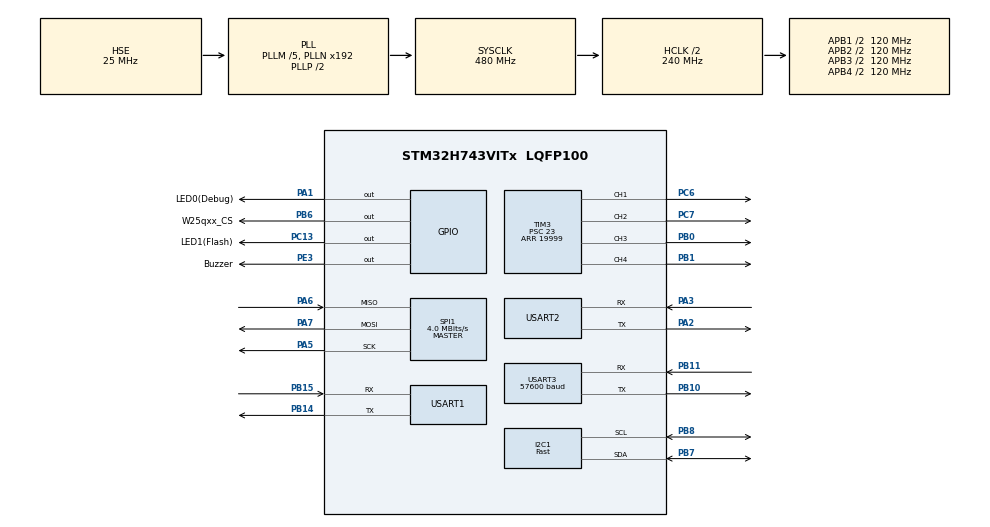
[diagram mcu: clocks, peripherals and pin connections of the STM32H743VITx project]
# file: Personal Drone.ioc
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Dma.I2C1_RX.0.Direction=DMA_PERIPH_TO_MEMORY
Dma.I2C1_RX.0.EventEnable=DISABLE
Dma.I2C1_RX.0.FIFOMode=DMA_FIFOMODE_DISABLE
Dma.I2C1_RX.0.Instance=DMA1_Stream1
Dma.I2C1_RX.0.MemDataAlignment=DMA_MDATAALIGN_BYTE
Dma.I2C1_RX.0.MemInc=DMA_MINC_ENABLE
Dma.I2C1_RX.0.Mode=DMA_NORMAL
Dma.I2C1_RX.0.PeriphDataAlignment=DMA_PDATAALIGN_BYTE
Dma.I2C1_RX.0.PeriphInc=DMA_PINC_DISABLE
Dma.I2C1_RX.0.Polarity=HAL_DMAMUX_REQ_GEN_RISING
Dma.I2C1_RX.0.Priority=DMA_PRIORITY_LOW
Dma.I2C1_RX.0.RequestNumber=1
Dma.I2C1_RX.0.SignalID=NONE
Dma.I2C1_RX.0.SyncEnable=DISABLE
Dma.I2C1_RX.0.SyncPolarity=HAL_DMAMUX_SYNC_NO_EVENT
Dma.I2C1_RX.0.SyncRequestNumber=1
Dma.I2C1_RX.0.SyncSignalID=NONE
Dma.Request0=I2C1_RX
Dma.Request1=USART1_RX
Dma.Request2=USART1_TX
Dma.Request3=USART2_RX
Dma.Request4=USART3_RX
Dma.USART1_RX.1.Direction=DMA_PERIPH_TO_MEMORY
Dma.USART1_RX.1.EventEnable=DISABLE
Dma.USART1_RX.1.FIFOMode=DMA_FIFOMODE_DISABLE
Dma.USART1_RX.1.Instance=DMA1_Stream0
Dma.USART1_RX.1.MemDataAlignment=DMA_MDATAALIGN_BYTE
Dma.USART1_RX.1.MemInc=DMA_MINC_ENABLE
Dma.USART1_RX.1.Mode=DMA_CIRCULAR
Dma.USART1_RX.1.PeriphDataAlignment=DMA_PDATAALIGN_BYTE
Dma.USART1_RX.1.PeriphInc=DMA_PINC_DISABLE
Dma.USART1_RX.1.Polarity=HAL_DMAMUX_REQ_GEN_RISING
Dma.USART1_RX.1.Priority=DMA_PRIORITY_LOW
Dma.USART1_RX.1.RequestNumber=1
Dma.USART1_RX.1.SignalID=NONE
Dma.USART1_RX.1.SyncEnable=DISABLE
Dma.USART1_RX.1.SyncPolarity=HAL_DMAMUX_SYNC_NO_EVENT
Dma.USART1_RX.1.SyncRequestNumber=1
Dma.USART1_RX.1.SyncSignalID=NONE
Dma.USART1_TX.2.Direction=DMA_MEMORY_TO_PERIPH
Dma.USART1_TX.2.EventEnable=DISABLE
Dma.USART1_TX.2.FIFOMode=DMA_FIFOMODE_DISABLE
Dma.USART1_TX.2.Instance=DMA1_Stream2
Dma.USART1_TX.2.MemDataAlignment=DMA_MDATAALIGN_BYTE
Dma.USART1_TX.2.MemInc=DMA_MINC_ENABLE
Dma.USART1_TX.2.Mode=DMA_NORMAL
Dma.USART1_TX.2.PeriphDataAlignment=DMA_PDATAALIGN_BYTE
Dma.USART1_TX.2.PeriphInc=DMA_PINC_DISABLE
Dma.USART1_TX.2.Polarity=HAL_DMAMUX_REQ_GEN_RISING
Dma.USART1_TX.2.Priority=DMA_PRIORITY_LOW
Dma.USART1_TX.2.RequestNumber=1
Dma.USART1_TX.2.SignalID=NONE
Dma.USART1_TX.2.SyncEnable=DISABLE
Dma.USART1_TX.2.SyncPolarity=HAL_DMAMUX_SYNC_NO_EVENT
Dma.USART1_TX.2.SyncRequestNumber=1
Dma.USART1_TX.2.SyncSignalID=NONE
Dma.USART2_RX.3.Direction=DMA_PERIPH_TO_MEMORY
Dma.USART2_RX.3.EventEnable=DISABLE
Dma.USART2_RX.3.FIFOMode=DMA_FIFOMODE_DISABLE
Dma.USART2_RX.3.Instance=DMA1_Stream3
Dma.USART2_RX.3.MemDataAlignment=DMA_MDATAALIGN_BYTE
Dma.USART2_RX.3.MemInc=DMA_MINC_DISABLE
Dma.USART2_RX.3.Mode=DMA_CIRCULAR
Dma.USART2_RX.3.PeriphDataAlignment=DMA_PDATAALIGN_BYTE
Dma.USART2_RX.3.PeriphInc=DMA_PINC_DISABLE
Dma.USART2_RX.3.Polarity=HAL_DMAMUX_REQ_GEN_RISING
Dma.USART2_RX.3.Priority=DMA_PRIORITY_VERY_HIGH
Dma.USART2_RX.3.RequestNumber=1
Dma.USART2_RX.3.SignalID=NONE
Dma.USART2_RX.3.SyncEnable=DISABLE
Dma.USART2_RX.3.SyncPolarity=HAL_DMAMUX_SYNC_NO_EVENT
Dma.USART2_RX.3.SyncRequestNumber=1
Dma.USART2_RX.3.SyncSignalID=NONE
Dma.USART3_RX.4.Direction=DMA_PERIPH_TO_MEMORY
Dma.USART3_RX.4.EventEnable=DISABLE
Dma.USART3_RX.4.FIFOMode=DMA_FIFOMODE_DISABLE
Dma.USART3_RX.4.Instance=DMA1_Stream4
Dma.USART3_RX.4.MemDataAlignment=DMA_MDATAALIGN_BYTE
Dma.USART3_RX.4.MemInc=DMA_MINC_ENABLE
Dma.USART3_RX.4.Mode=DMA_NORMAL
Dma.USART3_RX.4.PeriphDataAlignment=DMA_PDATAALIGN_BYTE
Dma.USART3_RX.4.PeriphInc=DMA_PINC_DISABLE
Dma.USART3_RX.4.Polarity=HAL_DMAMUX_REQ_GEN_RISING
Dma.USART3_RX.4.Priority=DMA_PRIORITY_LOW
Dma.USART3_RX.4.RequestNumber=1
Dma.USART3_RX.4.SignalID=NONE
Dma.USART3_RX.4.SyncEnable=DISABLE
Dma.USART3_RX.4.SyncPolarity=HAL_DMAMUX_SYNC_NO_EVENT
Dma.USART3_RX.4.SyncRequestNumber=1
Dma.USART3_RX.4.SyncSignalID=NONE
I2C1.I2C_Speed_Mode=I2C_Fast
I2C1.Timing=0x00B03FDB
Mcu.Family=STM32H7
Mcu.Name=STM32H743VITx
Mcu.Package=LQFP100
NVIC.DMA1_Stream0_IRQn=true\:0\:0\:false\:false\:true\:false\:true
NVIC.DMA1_Stream1_IRQn=true\:0\:0\:false\:false\:true\:false\:true
NVIC.DMA1_Stream2_IRQn=true\:0\:0\:false\:false\:true\:false\:true
NVIC.DMA1_Stream3_IRQn=true\:0\:0\:false\:false\:true\:false\:true
NVIC.DMA1_Stream4_IRQn=true\:0\:0\:false\:false\:true\:false\:true
NVIC.I2C1_EV_IRQn=true\:0\:0\:false\:false\:true\:true\:true
NVIC.PriorityGroup=NVIC_PRIORITYGROUP_4
NVIC.TIM3_IRQn=true\:0\:0\:false\:false\:true\:true\:true
NVIC.TIM7_IRQn=true\:0\:0\:false\:false\:true\:true\:true
NVIC.USART1_IRQn=true\:0\:0\:false\:false\:true\:true\:true
NVIC.USART2_IRQn=true\:0\:0\:false\:false\:true\:true\:true
NVIC.USART3_IRQn=true\:0\:0\:false\:false\:true\:true\:true
PA1.GPIO_Label=LED0(Debug)
PA1.Signal=GPIO_Output
PA2.Mode=Asynchronous
PA2.Signal=USART2_TX
PA3.Mode=Asynchronous
PA3.Signal=USART2_RX
PA5.Mode=Full_Duplex_Master
PA5.Signal=SPI1_SCK
PA6.Mode=Full_Duplex_Master
PA6.Signal=SPI1_MISO
PA7.Mode=Full_Duplex_Master
PA7.Signal=SPI1_MOSI
PB0.Signal=S_TIM3_CH3
PB1.Signal=S_TIM3_CH4
PB10.Mode=Asynchronous
PB10.Signal=USART3_TX
PB11.Mode=Asynchronous
PB11.Signal=USART3_RX
PB14.Mode=Asynchronous
PB14.Signal=USART1_TX
PB15.Mode=Asynchronous
PB15.Signal=USART1_RX
PB6.GPIO_Label=W25qxx_CS
PB6.Signal=GPIO_Output
PB7.Mode=I2C
PB7.Signal=I2C1_SDA
PB8.Mode=I2C
PB8.Signal=I2C1_SCL
PC13.GPIO_Label=LED1(Flash)
PC13.Signal=GPIO_Output
PC6.Signal=S_TIM3_CH1
PC7.Signal=S_TIM3_CH2
PE3.GPIO_Label=Buzzer
PE3.Signal=GPIO_Output
PH0-OSC_IN\ (PH0).Mode=HSE-External-Oscillator
PH0-OSC_IN\ (PH0).Signal=RCC_OSC_IN
PH1-OSC_OUT\ (PH1).Mode=HSE-External-Oscillator
PH1-OSC_OUT\ (PH1).Signal=RCC_OSC_OUT
ProjectManager.HeapSize=0x200
ProjectManager.StackSize=0x400
ProjectManager.TargetToolchain=STM32CubeIDE
RCC.ADCFreq_Value=50390625
RCC.APB1Freq_Value=120000000
RCC.APB2Freq_Value=120000000
RCC.APB3Freq_Value=120000000
RCC.APB4Freq_Value=120000000
RCC.CortexFreq_Value=480000000
RCC.D1PPRE=RCC_APB3_DIV2
RCC.D2PPRE1=RCC_APB1_DIV2
RCC.D2PPRE2=RCC_APB2_DIV2
RCC.D3PPRE=RCC_APB4_DIV2
RCC.DIVM1=5
RCC.DIVN1=192
RCC.HCLKFreq_Value=240000000
RCC.HPRE=RCC_HCLK_DIV2
RCC.PLLFRACN=0
RCC.PLLSourceVirtual=RCC_PLLSOURCE_HSE
RCC.SPI123CLockSelection=RCC_SPI123CLKSOURCE_CLKP
RCC.SYSCLKFreq_VALUE=480000000
RCC.SYSCLKSource=RCC_SYSCLKSOURCE_PLLCLK
RCC.USBFreq_Value=480000000
SH.S_TIM3_CH1.0=TIM3_CH1,PWM Generation1 CH1
SH.S_TIM3_CH2.0=TIM3_CH2,PWM Generation2 CH2
SH.S_TIM3_CH3.0=TIM3_CH3,PWM Generation3 CH3
SH.S_TIM3_CH4.0=TIM3_CH4,PWM Generation4 CH4
SPI1.BaudRatePrescaler=SPI_BAUDRATEPRESCALER_16
SPI1.CLKPhase=SPI_PHASE_1EDGE
SPI1.CalculateBaudRate=4.0 MBits/s
SPI1.DataSize=SPI_DATASIZE_8BIT
SPI1.Direction=SPI_DIRECTION_2LINES
SPI1.Mode=SPI_MODE_MASTER
SPI1.VirtualType=VM_MASTER
TIM3.Channel-PWM\ Generation1\ CH1=TIM_CHANNEL_1
TIM3.Channel-PWM\ Generation2\ CH2=TIM_CHANNEL_2
TIM3.Channel-PWM\ Generation3\ CH3=TIM_CHANNEL_3
TIM3.Channel-PWM\ Generation4\ CH4=TIM_CHANNEL_4
TIM3.Period=19999
TIM3.Prescaler=23
TIM7.AutoReloadPreload=TIM_AUTORELOAD_PRELOAD_ENABLE
TIM7.Period=5
TIM7.Prescaler=39999
USART1.VirtualMode-Asynchronous=VM_ASYNC
USART2.VirtualMode-Asynchronous=VM_ASYNC
USART3.BaudRate=57600
USART3.VirtualMode-Asynchronous=VM_ASYNC
VP_TIM3_VS_ClockSourceINT.Mode=Internal
VP_TIM7_VS_ClockSourceINT.Mode=Enable_Timer
board=custom

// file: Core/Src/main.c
/* USER CODE BEGIN Header */
/**
 ******************************************************************************
 * @file           : main.c
 * @brief          : Main program body
 ******************************************************************************
 * @attention
 *
 * Copyright (c) 2021 STMicroelectronics.
 * All rights reserved.
 *
 * This software is licensed under terms that can be found in the LICENSE file
 * in the root directory of this software component.
 * If no LICENSE file comes with this software, it is provided AS-IS.
 *
 ******************************************************************************
 */
/* USER CODE END Header */
#include "main.h"

/* USER CODE BEGIN Includes */
#include "MPU9250.h"
#include "w25qxx.h"
#include "MadgwickAHRS.h"
#include "FS-iA6B.h"
#include "PID control.h"
/* USER CODE END Includes */

I2C_HandleTypeDef hi2c1;
DMA_HandleTypeDef hdma_i2c1_rx;

SPI_HandleTypeDef hspi1;

TIM_HandleTypeDef htim3;
TIM_HandleTypeDef htim7;

UART_HandleTypeDef huart1;
UART_HandleTypeDef huart2;
UART_HandleTypeDef huart3;
DMA_HandleTypeDef hdma_usart1_rx;
DMA_HandleTypeDef hdma_usart1_tx;
DMA_HandleTypeDef hdma_usart2_rx;
DMA_HandleTypeDef hdma_usart3_rx;

/* USER CODE BEGIN PV */
//Timer
extern uint8_t tim1_2ms_flag;
extern uint8_t tim1_10ms_flag;
extern uint8_t tim1_20ms_flag;
extern uint8_t tim1_500ms_flag;

//MPU9250
extern int MPU9250_DRDY;
uint8_t Mag_Calib[12];
extern uint8_t MPU9250_ASAX;
extern uint8_t MPU9250_ASAY;
extern uint8_t MPU9250_ASAZ;
float test_float;
extern float System_Roll, System_Pitch, System_Yaw;

//FTDI
extern uint8_t uart1_rx_flag;
extern uint8_t uart1_rx_data;
uint8_t print_mode = 0;
uint8_t mag_calibration_enable = 0;

//Receiver
extern uint8_t uart2_rx_flag;
extern uint8_t uart2_rx_data;
extern uint8_t ibus_rx_buf[32];
extern uint8_t ibus_rx_cplt_flag;
extern uint8_t iBus_failsafe;
extern uint8_t motor_arming_flag;
unsigned char is_throttle_middle = 0;
unsigned char is_yaw_middle = 0;
float yaw_heading_reference = 0;
extern uint8_t iBus_rx_cnt;

//Motor
unsigned int ccr1 ,ccr2, ccr3, ccr4;
/* USER CODE END PV */

void SystemClock_Config(void);
void PeriphCommonClock_Config(void);
static void MX_GPIO_Init(void);
static void MX_DMA_Init(void);
static void MX_TIM7_Init(void);
static void MX_USART1_UART_Init(void);
static void MX_I2C1_Init(void);
static void MX_SPI1_Init(void);
static void MX_USART2_UART_Init(void);
static void MX_TIM3_Init(void);
static void MX_USART3_UART_Init(void);
/* USER CODE BEGIN PFP */
void Compass_Calibration(uint8_t mag_calibration_enable);
void ESC_Calibration(void);
void Stop_Motor(int ccr);
/* USER CODE END PFP */

/* USER CODE BEGIN 0 */
int _write(int file, char* p, int len)
{
	HAL_UART_Transmit_DMA(&huart1, p, len);
	return len;
}
/* USER CODE END 0 */

int main(void)
{
  /* USER CODE BEGIN 1 */
	MPU9250.Gx_Offset = 0.43;
	MPU9250.Gy_Offset = -0.49;
	MPU9250.Gz_Offset = -1.40;
	MPU9250.Mx_Offset = 0;
	MPU9250.My_Offset = 0;
	MPU9250.Mz_Offset = 0;

  /* USER CODE END 1 */

  /* MCU Configuration--------------------------------------------------------*/

  /* Reset of all peripherals, Initializes the Flash interface and the Systick. */
  HAL_Init();

  /* Configure the system clock */
  SystemClock_Config();

/* Configure the peripherals common clocks */
  PeriphCommonClock_Config();

  /* Initialize all configured peripherals */
  MX_GPIO_Init();
  MX_DMA_Init();
  MX_TIM7_Init();
  MX_USART1_UART_Init();
  MX_I2C1_Init();
  MX_SPI1_Init();
  MX_USART2_UART_Init();
  MX_TIM3_Init();
  MX_USART3_UART_Init();
  /* USER CODE BEGIN 2 */
  HAL_GPIO_WritePin(LED0_GPIO_Port, LED0_Pin, GPIO_PIN_RESET);
  HAL_Delay(500);
  HAL_GPIO_WritePin(LED0_GPIO_Port, LED0_Pin, GPIO_PIN_SET);

  //General Timer HAL
  HAL_TIM_Base_Start_IT(&htim7);
  //General PWM LL
//  LL_TIM_EnableCounter(TIM7);
//  LL_TIM_EnableIT_UPDATE(TIM7);

  //USART Channels HAL
  HAL_UART_Receive_DMA(&huart1, &uart1_rx_data, 1); //FTDI
  HAL_UART_Receive_DMA(&huart2, &uart2_rx_data, 1); //Receiver

	//Motor PWM HAL
	HAL_TIM_Base_Start_IT(&htim3);
	HAL_TIM_PWM_Start_IT(&htim3, TIM_CHANNEL_1);
	HAL_TIM_PWM_Start_IT(&htim3, TIM_CHANNEL_2);
	HAL_TIM_PWM_Start_IT(&htim3, TIM_CHANNEL_3);
	HAL_TIM_PWM_Start_IT(&htim3, TIM_CHANNEL_4);
  //Motor PWM LL
//  LL_TIM_EnableCounter(TIM3);
//  LL_TIM_CC_EnableChannel(TIM3, LL_TIM_CHANNEL_CH1);
//  LL_TIM_CC_EnableChannel(TIM3, LL_TIM_CHANNEL_CH2);
//  LL_TIM_CC_EnableChannel(TIM3, LL_TIM_CHANNEL_CH3);
//  LL_TIM_CC_EnableChannel(TIM3, LL_TIM_CHANNEL_CH4);

  /* USER CODE END 2 */

  /* Infinite loop */
  /* USER CODE BEGIN WHILE */

	//Initialize MPU9250
	while(MPU9250_Init(&hi2c1, 3, 3, 3, 3) == 0)
	{
		if(tim1_20ms_flag == 1)
		{
			tim1_20ms_flag = 0;
			printf("MPU9250 Initialing \n");
		}
	}
	MPU9250_Bypass(&hi2c1);
	while(MPU9250_AK8963_Setup(&hi2c1, &MPU9250) == 0)
	{
		if(tim1_20ms_flag == 1)
		{
			tim1_20ms_flag = 0;
			printf("AK8963 Initialing \n");
		}
	}
	MPU9250_Master(&hi2c1);
	MPU9250_Slave0_Enable(&hi2c1);

	//Initialize MS5611

	//EEPROM
	W25qxx_Init();
	W25qxx_ReadSector(Mag_Calib, 0, 0, 12);
	MPU9250.Mx_Offset = *(float*)&Mag_Calib[0];
	MPU9250.My_Offset = *(float*)&Mag_Calib[4];
	MPU9250.Mz_Offset = *(float*)&Mag_Calib[8];

	//Receiver Check
	printf("Receiver Status Check \n"); HAL_Delay(10);
	while(Is_iBus_Received(ibus_rx_cplt_flag) == 0)
	{
		HAL_GPIO_WritePin(LED0_GPIO_Port, LED0_Pin, GPIO_PIN_RESET);
		HAL_Delay(500);
		HAL_GPIO_WritePin(LED0_GPIO_Port, LED0_Pin, GPIO_PIN_SET);
		HAL_Delay(500);
	}
	while(Is_Throttle_Min() == 0)
	{
		HAL_GPIO_WritePin(LED0_GPIO_Port, LED0_Pin, GPIO_PIN_RESET);
		HAL_Delay(500);
		HAL_GPIO_WritePin(LED0_GPIO_Port, LED0_Pin, GPIO_PIN_SET);
		HAL_Delay(500);
	}
	printf("Receiver OK \n"); HAL_Delay(10);

	//ESC Calibration
	if(iBus.SwB == 2000 && iBus.SwC == 2000)
	{
		ESC_Calibration();
		while(iBus.SwB != 1000) Is_iBus_Received(ibus_rx_cplt_flag);
	}

	while (1)
	{
		//UART Message Check
		Receive_Command();

		//Receiver Channel Check
		Is_iBus_Received(ibus_rx_cplt_flag);
		if(iBus.SwA == 2000 && iBus.SwA_Prev != 2000)
		{
			if(iBus.LV < 1010)
			{
				motor_arming_flag = 1;
				yaw_heading_reference = System_Yaw;
			}
		}
		iBus.SwA_Prev = iBus.SwA;
		if(iBus.SwA != 2000)
		{
			motor_arming_flag = 0;
		}
		if(motor_arming_flag == 1)
		{
			if(iBus_failsafe == 0)
			{
				if(iBus.LV > 1010)
				{
					TIM3->CCR1 = ccr1 > 20000 ? 19900 : ccr1 < 10000 ? 10000 : ccr1;
					TIM3->CCR2 = ccr2 > 20000 ? 19900 : ccr2 < 10000 ? 10000 : ccr2;
					TIM3->CCR3 = ccr3 > 20000 ? 19900 : ccr3 < 10000 ? 10000 : ccr3;
					TIM3->CCR4 = ccr4 > 20000 ? 19900 : ccr4 < 10000 ? 10000 : ccr4;
				}
				else Stop_Motor(10000);
			}
			else Stop_Motor(10000);
		}
		else
		{
			Stop_Motor(10000);
			Compass_Calibration(mag_calibration_enable | (iBus.SwB == 2000 && iBus.SwC == 1000));
		}

		if(iBus.SwD == 2000 && iBus.SwD_Prev != 2000)
		{
			HAL_GPIO_WritePin(Buzzer_GPIO_Port, Buzzer_Pin, GPIO_PIN_SET); //Toggle LED, Buzzer On
			HAL_GPIO_TogglePin(LED1_GPIO_Port, LED1_Pin);
		}
		if(iBus.SwD == 1000 && iBus.SwD_Prev != 1000) HAL_GPIO_WritePin(Buzzer_GPIO_Port, Buzzer_Pin, GPIO_PIN_RESET);//Buzzer Off

		iBus.SwD_Prev = iBus.SwD;

		//Read MPU9250 + Motor PID
		if(tim1_2ms_flag == 1)
		{
			tim1_2ms_flag = 0;
			MPU9250_Read_All(&hi2c1);
			MPU9250_Parsing(&MPU9250);
			MadgwickAHRSupdate(MPU9250.Gx_Rad, MPU9250.Gy_Rad, MPU9250.Gz_Rad, MPU9250.Ax, MPU9250.Ay, MPU9250.Az, MPU9250.Mx, MPU9250.My, MPU9250.Mz);
			Double_PID_Calculation_Rate(&roll, (iBus.LH - 1500) * 0.7, System_Roll, MPU9250.Gx, 1000, 500, 0, 1, 0);
			Double_PID_Calculation_Rate(&pitch, -(iBus.LV - 1500) * 0.7, System_Pitch, MPU9250.Gy, 1000, 500, 0, 1, 0);

			if(iBus.LH > 1480 && iBus.LH < 1520) is_yaw_middle = 1;
			else is_yaw_middle = 0;

			if(is_yaw_middle == 0)
			{
				yaw_heading_reference = System_Yaw;
				Single_PID_Calculation(&yaw_rate, (iBus.LH-1500), MPU9250.Gz, 200,1 ,1);
				ccr1 = 10000 + (iBus.LV-1000)*10 + roll.in.pid_result + pitch.in.pid_result - yaw_rate.out.pid_result;
				ccr2 = 10000 + (iBus.LV-1000)*10 + roll.in.pid_result - pitch.in.pid_result + yaw_rate.out.pid_result;
				ccr3 = 10000 + (iBus.LV-1000)*10 - roll.in.pid_result - pitch.in.pid_result + yaw_rate.out.pid_result;
				ccr4 = 10000 + (iBus.LV-1000)*10 - roll.in.pid_result + pitch.in.pid_result - yaw_rate.out.pid_result;
			}
			else
			{
				Double_PID_Calculation_Rate(&yaw_heading, yaw_heading_reference, System_Yaw, MPU9250.Gz, 400, 150, 0, 1, 1);
				ccr1 = 10000 + (iBus.LV-1000)*10 + roll.in.pid_result + pitch.in.pid_result - yaw_heading.in.pid_result;
				ccr2 = 10000 + (iBus.LV-1000)*10 + roll.in.pid_result - pitch.in.pid_result + yaw_heading.in.pid_result;
				ccr3 = 10000 + (iBus.LV-1000)*10 - roll.in.pid_result - pitch.in.pid_result + yaw_heading.in.pid_result;
				ccr4 = 10000 + (iBus.LV-1000)*10 - roll.in.pid_result + pitch.in.pid_result - yaw_heading.in.pid_result;
			}
		}

		//Print According to the Input
		if(tim1_20ms_flag == 1)
		{
			tim1_20ms_flag = 0;

			switch(print_mode)
			{
			case 1: printf("%.2f \t %.2f \t %.2f \t \n", System_Roll, System_Pitch, System_Yaw); break; //Roll, Pitch, Yaw
			case 2: /* printf("%.2f \t %.2f \t \m", Alt, Alt_Filt); */ break; //Alt Raw, Alt Filt
			case 3: printf("%.2f \t %.2f \t %.2f \t \n", MPU9250.Gx, MPU9250.Gy, MPU9250.Gz); break; //Gyro
			case 4: printf("%.2f \t %.2f \t %.2f \t \n", MPU9250.Ax, MPU9250.Ay, MPU9250.Az); break; //Accel
			case 5: printf("%.2f \t %.2f \t %.2f \t \n", MPU9250.Mx, MPU9250.My, MPU9250.Mz); break; //Mag
			case 6: printf("%f \t %f \t %f \t \n", MPU9250.Mx_Offset, MPU9250.My_Offset, MPU9250.Mz_Offset); break; //Mag_Offset
			case 11: printf("%d %d %d %d %d %d %d %d %d %d \n", iBus.RH, iBus.RV, iBus.LV, iBus.LH, iBus.SwA, iBus.SwB, iBus.VrA, iBus.VrB, iBus.SwC, iBus.SwD); break; //Mag_Offset
			default: break;
			}
		}

		//iBus Connection Failsafe
		if(tim1_500ms_flag == 1)
		{
			tim1_500ms_flag = 0;
			if(iBus_rx_cnt == 0)
			{
				iBus_failsafe = 2;
			}
			iBus_rx_cnt = 0;
		}

    /* USER CODE END WHILE */

	}
}

void SystemClock_Config(void)
{
  RCC_OscInitTypeDef RCC_OscInitStruct = {0};
  RCC_ClkInitTypeDef RCC_ClkInitStruct = {0};

  /** Supply configuration update enable
  */
  HAL_PWREx_ConfigSupply(PWR_LDO_SUPPLY);
  /** Configure the main internal regulator output voltage
  */
  __HAL_PWR_VOLTAGESCALING_CONFIG(PWR_REGULATOR_VOLTAGE_SCALE0);

  while(!__HAL_PWR_GET_FLAG(PWR_FLAG_VOSRDY)) {}
  /** Initializes the RCC Oscillators according to the specified parameters
  * in the RCC_OscInitTypeDef structure.
  */
  RCC_OscInitStruct.OscillatorType = RCC_OSCILLATORTYPE_HSI|RCC_OSCILLATORTYPE_HSE;
  RCC_OscInitStruct.HSEState = RCC_HSE_ON;
  RCC_OscInitStruct.HSIState = RCC_HSI_DIV1;
  RCC_OscInitStruct.HSICalibrationValue = RCC_HSICALIBRATION_DEFAULT;
  RCC_OscInitStruct.PLL.PLLState = RCC_PLL_ON;
  RCC_OscInitStruct.PLL.PLLSource = RCC_PLLSOURCE_HSE;
  RCC_OscInitStruct.PLL.PLLM = 5;
  RCC_OscInitStruct.PLL.PLLN = 192;
  RCC_OscInitStruct.PLL.PLLP = 2;
  RCC_OscInitStruct.PLL.PLLQ = 2;
  RCC_OscInitStruct.PLL.PLLR = 2;
  RCC_OscInitStruct.PLL.PLLRGE = RCC_PLL1VCIRANGE_2;
  RCC_OscInitStruct.PLL.PLLVCOSEL = RCC_PLL1VCOWIDE;
  RCC_OscInitStruct.PLL.PLLFRACN = 0;
  if (HAL_RCC_OscConfig(&RCC_OscInitStruct) != HAL_OK)
  {
    Error_Handler();
  }
  /** Initializes the CPU, AHB and APB buses clocks
  */
  RCC_ClkInitStruct.ClockType = RCC_CLOCKTYPE_HCLK|RCC_CLOCKTYPE_SYSCLK
                              |RCC_CLOCKTYPE_PCLK1|RCC_CLOCKTYPE_PCLK2
                              |RCC_CLOCKTYPE_D3PCLK1|RCC_CLOCKTYPE_D1PCLK1;
  RCC_ClkInitStruct.SYSCLKSource = RCC_SYSCLKSOURCE_PLLCLK;
  RCC_ClkInitStruct.SYSCLKDivider = RCC_SYSCLK_DIV1;
  RCC_ClkInitStruct.AHBCLKDivider = RCC_HCLK_DIV2;
  RCC_ClkInitStruct.APB3CLKDivider = RCC_APB3_DIV2;
  RCC_ClkInitStruct.APB1CLKDivider = RCC_APB1_DIV2;
  RCC_ClkInitStruct.APB2CLKDivider = RCC_APB2_DIV2;
  RCC_ClkInitStruct.APB4CLKDivider = RCC_APB4_DIV2;

  if (HAL_RCC_ClockConfig(&RCC_ClkInitStruct, FLASH_LATENCY_4) != HAL_OK)
  {
    Error_Handler();
  }
}

void PeriphCommonClock_Config(void)
{
  RCC_PeriphCLKInitTypeDef PeriphClkInitStruct = {0};

  /** Initializes the peripherals clock
  */
  PeriphClkInitStruct.PeriphClockSelection = RCC_PERIPHCLK_CKPER;
  PeriphClkInitStruct.CkperClockSelection = RCC_CLKPSOURCE_HSI;
  if (HAL_RCCEx_PeriphCLKConfig(&PeriphClkInitStruct) != HAL_OK)
  {
    Error_Handler();
  }
}

static void MX_I2C1_Init(void)
{

  hi2c1.Instance = I2C1;
  hi2c1.Init.Timing = 0x00B03FDB;
  hi2c1.Init.OwnAddress1 = 0;
  hi2c1.Init.AddressingMode = I2C_ADDRESSINGMODE_7BIT;
  hi2c1.Init.DualAddressMode = I2C_DUALADDRESS_DISABLE;
  hi2c1.Init.OwnAddress2 = 0;
  hi2c1.Init.OwnAddress2Masks = I2C_OA2_NOMASK;
  hi2c1.Init.GeneralCallMode = I2C_GENERALCALL_DISABLE;
  hi2c1.Init.NoStretchMode = I2C_NOSTRETCH_DISABLE;
  if (HAL_I2C_Init(&hi2c1) != HAL_OK)
  {
    Error_Handler();
  }
  /** Configure Analogue filter
  */
  if (HAL_I2CEx_ConfigAnalogFilter(&hi2c1, I2C_ANALOGFILTER_ENABLE) != HAL_OK)
  {
    Error_Handler();
  }
  /** Configure Digital filter
  */
  if (HAL_I2CEx_ConfigDigitalFilter(&hi2c1, 0) != HAL_OK)
  {
    Error_Handler();
  }

}

static void MX_SPI1_Init(void)
{

  /* SPI1 parameter configuration*/
  hspi1.Instance = SPI1;
  hspi1.Init.Mode = SPI_MODE_MASTER;
  hspi1.Init.Direction = SPI_DIRECTION_2LINES;
  hspi1.Init.DataSize = SPI_DATASIZE_8BIT;
  hspi1.Init.CLKPolarity = SPI_POLARITY_LOW;
  hspi1.Init.CLKPhase = SPI_PHASE_1EDGE;
  hspi1.Init.NSS = SPI_NSS_SOFT;
  hspi1.Init.BaudRatePrescaler = SPI_BAUDRATEPRESCALER_16;
  hspi1.Init.FirstBit = SPI_FIRSTBIT_MSB;
  hspi1.Init.TIMode = SPI_TIMODE_DISABLE;
  hspi1.Init.CRCCalculation = SPI_CRCCALCULATION_DISABLE;
  hspi1.Init.CRCPolynomial = 0x0;
  hspi1.Init.NSSPMode = SPI_NSS_PULSE_ENABLE;
  hspi1.Init.NSSPolarity = SPI_NSS_POLARITY_LOW;
  hspi1.Init.FifoThreshold = SPI_FIFO_THRESHOLD_01DATA;
  hspi1.Init.TxCRCInitializationPattern = SPI_CRC_INITIALIZATION_ALL_ZERO_PATTERN;
  hspi1.Init.RxCRCInitializationPattern = SPI_CRC_INITIALIZATION_ALL_ZERO_PATTERN;
  hspi1.Init.MasterSSIdleness = SPI_MASTER_SS_IDLENESS_00CYCLE;
  hspi1.Init.MasterInterDataIdleness = SPI_MASTER_INTERDATA_IDLENESS_00CYCLE;
  hspi1.Init.MasterReceiverAutoSusp = SPI_MASTER_RX_AUTOSUSP_DISABLE;
  hspi1.Init.MasterKeepIOState = SPI_MASTER_KEEP_IO_STATE_DISABLE;
  hspi1.Init.IOSwap = SPI_IO_SWAP_DISABLE;
  if (HAL_SPI_Init(&hspi1) != HAL_OK)
  {
    Error_Handler();
  }

}

static void MX_TIM3_Init(void)
{

  TIM_ClockConfigTypeDef sClockSourceConfig = {0};
  TIM_MasterConfigTypeDef sMasterConfig = {0};
  TIM_OC_InitTypeDef sConfigOC = {0};

  htim3.Instance = TIM3;
  htim3.Init.Prescaler = 23;
  htim3.Init.CounterMode = TIM_COUNTERMODE_UP;
  htim3.Init.Period = 19999;
  htim3.Init.ClockDivision = TIM_CLOCKDIVISION_DIV1;
  htim3.Init.AutoReloadPreload = TIM_AUTORELOAD_PRELOAD_DISABLE;
  if (HAL_TIM_Base_Init(&htim3) != HAL_OK)
  {
    Error_Handler();
  }
  sClockSourceConfig.ClockSource = TIM_CLOCKSOURCE_INTERNAL;
  if (HAL_TIM_ConfigClockSource(&htim3, &sClockSourceConfig) != HAL_OK)
  {
    Error_Handler();
  }
  if (HAL_TIM_PWM_Init(&htim3) != HAL_OK)
  {
    Error_Handler();
  }
  sMasterConfig.MasterOutputTrigger = TIM_TRGO_RESET;
  sMasterConfig.MasterSlaveMode = TIM_MASTERSLAVEMODE_DISABLE;
  if (HAL_TIMEx_MasterConfigSynchronization(&htim3, &sMasterConfig) != HAL_OK)
  {
    Error_Handler();
  }
  sConfigOC.OCMode = TIM_OCMODE_PWM1;
  sConfigOC.Pulse = 0;
  sConfigOC.OCPolarity = TIM_OCPOLARITY_HIGH;
  sConfigOC.OCFastMode = TIM_OCFAST_DISABLE;
  if (HAL_TIM_PWM_ConfigChannel(&htim3, &sConfigOC, TIM_CHANNEL_1) != HAL_OK)
  {
    Error_Handler();
  }
  if (HAL_TIM_PWM_ConfigChannel(&htim3, &sConfigOC, TIM_CHANNEL_2) != HAL_OK)
  {
    Error_Handler();
  }
  if (HAL_TIM_PWM_ConfigChannel(&htim3, &sConfigOC, TIM_CHANNEL_3) != HAL_OK)
  {
    Error_Handler();
  }
  if (HAL_TIM_PWM_ConfigChannel(&htim3, &sConfigOC, TIM_CHANNEL_4) != HAL_OK)
  {
    Error_Handler();
  }
  HAL_TIM_MspPostInit(&htim3);

}

static void MX_TIM7_Init(void)
{

  TIM_MasterConfigTypeDef sMasterConfig = {0};

  htim7.Instance = TIM7;
  htim7.Init.Prescaler = 39999;
  htim7.Init.CounterMode = TIM_COUNTERMODE_UP;
  htim7.Init.Period = 5;
  htim7.Init.AutoReloadPreload = TIM_AUTORELOAD_PRELOAD_ENABLE;
  if (HAL_TIM_Base_Init(&htim7) != HAL_OK)
  {
    Error_Handler();
  }
  sMasterConfig.MasterOutputTrigger = TIM_TRGO_RESET;
  sMasterConfig.MasterSlaveMode = TIM_MASTERSLAVEMODE_DISABLE;
  if (HAL_TIMEx_MasterConfigSynchronization(&htim7, &sMasterConfig) != HAL_OK)
  {
    Error_Handler();
  }

}

static void MX_USART1_UART_Init(void)
{

  huart1.Instance = USART1;
  huart1.Init.BaudRate = 115200;
  huart1.Init.WordLength = UART_WORDLENGTH_8B;
  huart1.Init.StopBits = UART_STOPBITS_1;
  huart1.Init.Parity = UART_PARITY_NONE;
  huart1.Init.Mode = UART_MODE_TX_RX;
  huart1.Init.HwFlowCtl = UART_HWCONTROL_NONE;
  huart1.Init.OverSampling = UART_OVERSAMPLING_16;
  huart1.Init.OneBitSampling = UART_ONE_BIT_SAMPLE_DISABLE;
  huart1.Init.ClockPrescaler = UART_PRESCALER_DIV1;
  huart1.AdvancedInit.AdvFeatureInit = UART_ADVFEATURE_NO_INIT;
  if (HAL_UART_Init(&huart1) != HAL_OK)
  {
    Error_Handler();
  }
  if (HAL_UARTEx_SetTxFifoThreshold(&huart1, UART_TXFIFO_THRESHOLD_1_8) != HAL_OK)
  {
    Error_Handler();
  }
  if (HAL_UARTEx_SetRxFifoThreshold(&huart1, UART_RXFIFO_THRESHOLD_1_8) != HAL_OK)
  {
    Error_Handler();
  }
  if (HAL_UARTEx_DisableFifoMode(&huart1) != HAL_OK)
  {
    Error_Handler();
  }

}

static void MX_USART2_UART_Init(void)
{

  huart2.Instance = USART2;
  huart2.Init.BaudRate = 115200;
  huart2.Init.WordLength = UART_WORDLENGTH_8B;
  huart2.Init.StopBits = UART_STOPBITS_1;
  huart2.Init.Parity = UART_PARITY_NONE;
  huart2.Init.Mode = UART_MODE_TX_RX;
  huart2.Init.HwFlowCtl = UART_HWCONTROL_NONE;
  huart2.Init.OverSampling = UART_OVERSAMPLING_16;
  huart2.Init.OneBitSampling = UART_ONE_BIT_SAMPLE_DISABLE;
  huart2.Init.ClockPrescaler = UART_PRESCALER_DIV1;
  huart2.AdvancedInit.AdvFeatureInit = UART_ADVFEATURE_NO_INIT;
  if (HAL_UART_Init(&huart2) != HAL_OK)
  {
    Error_Handler();
  }
  if (HAL_UARTEx_SetTxFifoThreshold(&huart2, UART_TXFIFO_THRESHOLD_1_8) != HAL_OK)
  {
    Error_Handler();
  }
  if (HAL_UARTEx_SetRxFifoThreshold(&huart2, UART_RXFIFO_THRESHOLD_1_8) != HAL_OK)
  {
    Error_Handler();
  }
  if (HAL_UARTEx_DisableFifoMode(&huart2) != HAL_OK)
  {
    Error_Handler();
  }

}

static void MX_USART3_UART_Init(void)
{

  huart3.Instance = USART3;
  huart3.Init.BaudRate = 57600;
  huart3.Init.WordLength = UART_WORDLENGTH_8B;
  huart3.Init.StopBits = UART_STOPBITS_1;
  huart3.Init.Parity = UART_PARITY_NONE;
  huart3.Init.Mode = UART_MODE_TX_RX;
  huart3.Init.HwFlowCtl = UART_HWCONTROL_NONE;
  huart3.Init.OverSampling = UART_OVERSAMPLING_16;
  huart3.Init.OneBitSampling = UART_ONE_BIT_SAMPLE_DISABLE;
  huart3.Init.ClockPrescaler = UART_PRESCALER_DIV1;
  huart3.AdvancedInit.AdvFeatureInit = UART_ADVFEATURE_NO_INIT;
  if (HAL_UART_Init(&huart3) != HAL_OK)
  {
    Error_Handler();
  }
  if (HAL_UARTEx_SetTxFifoThreshold(&huart3, UART_TXFIFO_THRESHOLD_1_8) != HAL_OK)
  {
    Error_Handler();
  }
  if (HAL_UARTEx_SetRxFifoThreshold(&huart3, UART_RXFIFO_THRESHOLD_1_8) != HAL_OK)
  {
    Error_Handler();
  }
  if (HAL_UARTEx_DisableFifoMode(&huart3) != HAL_OK)
  {
    Error_Handler();
  }

}

static void MX_DMA_Init(void)
{

  /* DMA controller clock enable */
  __HAL_RCC_DMA1_CLK_ENABLE();

  /* DMA interrupt init */
  /* DMA1_Stream0_IRQn interrupt configuration */
  HAL_NVIC_SetPriority(DMA1_Stream0_IRQn, 0, 0);
  HAL_NVIC_EnableIRQ(DMA1_Stream0_IRQn);
  /* DMA1_Stream1_IRQn interrupt configuration */
  HAL_NVIC_SetPriority(DMA1_Stream1_IRQn, 0, 0);
  HAL_NVIC_EnableIRQ(DMA1_Stream1_IRQn);
  /* DMA1_Stream2_IRQn interrupt configuration */
  HAL_NVIC_SetPriority(DMA1_Stream2_IRQn, 0, 0);
  HAL_NVIC_EnableIRQ(DMA1_Stream2_IRQn);
  /* DMA1_Stream3_IRQn interrupt configuration */
  HAL_NVIC_SetPriority(DMA1_Stream3_IRQn, 0, 0);
  HAL_NVIC_EnableIRQ(DMA1_Stream3_IRQn);
  /* DMA1_Stream4_IRQn interrupt configuration */
  HAL_NVIC_SetPriority(DMA1_Stream4_IRQn, 0, 0);
  HAL_NVIC_EnableIRQ(DMA1_Stream4_IRQn);

}

static void MX_GPIO_Init(void)
{
  GPIO_InitTypeDef GPIO_InitStruct = {0};

  /* GPIO Ports Clock Enable */
  __HAL_RCC_GPIOE_CLK_ENABLE();
  __HAL_RCC_GPIOC_CLK_ENABLE();
  __HAL_RCC_GPIOH_CLK_ENABLE();
  __HAL_RCC_GPIOA_CLK_ENABLE();
  __HAL_RCC_GPIOB_CLK_ENABLE();

  /*Configure GPIO pin Output Level */
  HAL_GPIO_WritePin(Buzzer_GPIO_Port, Buzzer_Pin, GPIO_PIN_RESET);

  /*Configure GPIO pin Output Level */
  HAL_GPIO_WritePin(LED1_GPIO_Port, LED1_Pin, GPIO_PIN_RESET);

  /*Configure GPIO pin Output Level */
  HAL_GPIO_WritePin(LED0_GPIO_Port, LED0_Pin, GPIO_PIN_RESET);

  /*Configure GPIO pin Output Level */
  HAL_GPIO_WritePin(W25qxx_CS_GPIO_Port, W25qxx_CS_Pin, GPIO_PIN_RESET);

  /*Configure GPIO pin : Buzzer_Pin */
  GPIO_InitStruct.Pin = Buzzer_Pin;
  GPIO_InitStruct.Mode = GPIO_MODE_OUTPUT_PP;
  GPIO_InitStruct.Pull = GPIO_NOPULL;
  GPIO_InitStruct.Speed = GPIO_SPEED_FREQ_LOW;
  HAL_GPIO_Init(Buzzer_GPIO_Port, &GPIO_InitStruct);

  /*Configure GPIO pin : LED1_Pin */
  GPIO_InitStruct.Pin = LED1_Pin;
  GPIO_InitStruct.Mode = GPIO_MODE_OUTPUT_PP;
  GPIO_InitStruct.Pull = GPIO_NOPULL;
  GPIO_InitStruct.Speed = GPIO_SPEED_FREQ_LOW;
  HAL_GPIO_Init(LED1_GPIO_Port, &GPIO_InitStruct);

  /*Configure GPIO pin : LED0_Pin */
  GPIO_InitStruct.Pin = LED0_Pin;
  GPIO_InitStruct.Mode = GPIO_MODE_OUTPUT_PP;
  GPIO_InitStruct.Pull = GPIO_NOPULL;
  GPIO_InitStruct.Speed = GPIO_SPEED_FREQ_LOW;
  HAL_GPIO_Init(LED0_GPIO_Port, &GPIO_InitStruct);

  /*Configure GPIO pin : W25qxx_CS_Pin */
  GPIO_InitStruct.Pin = W25qxx_CS_Pin;
  GPIO_InitStruct.Mode = GPIO_MODE_OUTPUT_PP;
  GPIO_InitStruct.Pull = GPIO_NOPULL;
  GPIO_InitStruct.Speed = GPIO_SPEED_FREQ_LOW;
  HAL_GPIO_Init(W25qxx_CS_GPIO_Port, &GPIO_InitStruct);

}

/* USER CODE BEGIN 4 */
void Compass_Calibration(uint8_t mag_calibration_enable)
{
	if(mag_calibration_enable == 1)
	{
		for(int i =0;i<5;i++)
		{
			MPU9250_Read_All(&hi2c1);
			HAL_Delay(1);
			MPU9250_Parsing_NoOffset(&MPU9250);
		}
		MPU9250.Mx_Max = MPU9250.Mx;
		MPU9250.Mx_Min = MPU9250.Mx;
		MPU9250.My_Max = MPU9250.My;
		MPU9250.My_Min = MPU9250.My;
		MPU9250.Mz_Max = MPU9250.Mz;
		MPU9250.Mz_Min = MPU9250.Mz;

		while(mag_calibration_enable != 0)
		{
			Is_iBus_Received(ibus_rx_cplt_flag);
			Receive_Command();
			MPU9250_Read_All(&hi2c1);
			HAL_Delay(1);
			MPU9250_Parsing_NoOffset(&MPU9250);
			if(MPU9250.Mx > MPU9250.Mx_Max) MPU9250.Mx_Max = MPU9250.Mx;
			if(MPU9250.Mx < MPU9250.Mx_Min) MPU9250.Mx_Min = MPU9250.Mx;

			if(MPU9250.My > MPU9250.My_Max) MPU9250.My_Max = MPU9250.My;
			if(MPU9250.My < MPU9250.My_Min) MPU9250.My_Min = MPU9250.My;

			if(MPU9250.Mz > MPU9250.Mz_Max) MPU9250.Mz_Max = MPU9250.Mz;
			if(MPU9250.Mz < MPU9250.Mz_Min) MPU9250.Mz_Min = MPU9250.Mz;
		}
		MPU9250.Mx_Offset = (MPU9250.Mx_Max + MPU9250.Mx_Min) / 2;
		MPU9250.My_Offset = (MPU9250.My_Max + MPU9250.My_Min) / 2;
		MPU9250.Mz_Offset = (MPU9250.Mz_Max + MPU9250.Mz_Min) / 2;

		*(float*)&Mag_Calib[0] = MPU9250.Mx_Offset;
		*(float*)&Mag_Calib[4] = MPU9250.My_Offset;
		*(float*)&Mag_Calib[8] = MPU9250.Mz_Offset;

		W25qxx_EraseSector(0);
		W25qxx_WriteSector(Mag_Calib, 0, 0, 12);
	}
}

void ESC_Calibration(void)
{
	TIM3->CCR1 = 20000;
	TIM3->CCR2 = 20000;
	TIM3->CCR3 = 20000;
	TIM3->CCR4 = 20000;
	HAL_Delay(7000);
	TIM3->CCR1 = 10000;
	TIM3->CCR2 = 10000;
	TIM3->CCR3 = 10000;
	TIM3->CCR4 = 10000;
	HAL_Delay(8000);
}

void Stop_Motor(int ccr)
{
	TIM3->CCR1 = ccr;
	TIM3->CCR2 = ccr;
	TIM3->CCR3 = ccr;
	TIM3->CCR4 = ccr;
}
/* USER CODE END 4 */

void Error_Handler(void)
{
	__disable_irq();
	while (1)
	{
	}
}
